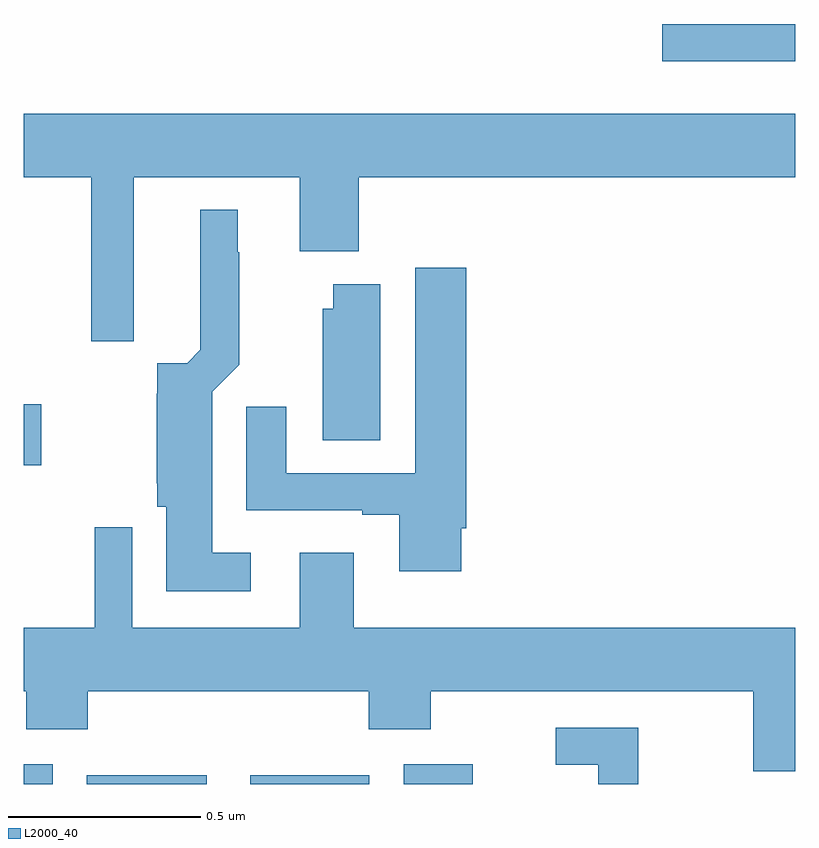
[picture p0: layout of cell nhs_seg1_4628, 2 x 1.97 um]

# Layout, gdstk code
import gdstk
lib = gdstk.Library(unit=1e-6, precision=1e-09)
def R(c, l, rs):  # rectangles x0, y0, x1, y1
    for r in rs: c.add(gdstk.rectangle(r[:2], r[2:], *l))
def P(c, l, *ps):  # polygons
    for p in ps: c.add(gdstk.Polygon(p, *l))
L2000_40 = (2000, 40)

nhs_seg1_4628 = lib.new_cell('nhs_seg1_4628')
R(nhs_seg1_4628, L2000_40, [(169,510.199,169.075,510.25), (169.164,510.199,169.474,510.222), (169.587,510.199,169.896,510.222), (169.985,510.199,170.164,510.25), (169,511.025,169.045,511.183), (170.655,512.072,171,512.169)])
P(nhs_seg1_4628, L2000_40, [(169,511.772),(169.175,511.772),(169.175,511.347),(169.285,511.347),(169.285,511.772),(169.715,511.772),(169.715,511.58),(169.868,511.58),(169.868,511.772),(171,511.772),(171,511.936),(169,511.936)],
  [(169.588,510.799),(169.489,510.799),(169.489,511.216),(169.559,511.286),(169.559,511.577),(169.555,511.577),(169.555,511.687),(169.457,511.687),(169.457,511.426),(169.458,511.426),(169.458,511.324),(169.424,511.29),(169.346,511.29),(169.346,511.211),(169.345,511.21),(169.345,510.978),(169.346,510.978),(169.346,510.918),(169.37,510.918),(169.37,510.698),(169.588,510.698)],
  [(170.134,510.862),(170.147,510.862),(170.147,511.537),(170.015,511.537),(170.015,511.005),(169.681,511.005),(169.681,511.177),(169.577,511.177),(169.577,510.909),(169.877,510.909),(169.877,510.897),(169.973,510.897),(169.973,510.75),(170.134,510.75)],
  [(169.924,511.495),(169.802,511.495),(169.802,511.431),(169.775,511.431),(169.775,511.09),(169.924,511.09)],
  [(171,510.604),(169.855,510.604),(169.855,510.799),(169.715,510.799),(169.715,510.604),(169.281,510.604),(169.281,510.865),(169.184,510.865),(169.184,510.604),(169,510.604),(169,510.44),(169.006,510.44),(169.006,510.341),(169.166,510.341),(169.166,510.44),(169.895,510.44),(169.895,510.341),(170.055,510.341),(170.055,510.44),(170.891,510.44),(170.891,510.232),(171,510.232)],
  [(170.593,510.345),(170.379,510.345),(170.379,510.249),(170.489,510.249),(170.489,510.199),(170.593,510.199)])

lib.write_gds('nhs_seg1_4628.gds')
